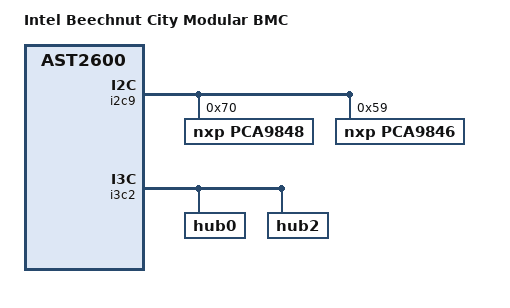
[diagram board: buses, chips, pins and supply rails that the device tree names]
// SPDX-License-Identifier: GPL-2.0
/dts-v1/;

#include "aspeed-bmc-intel-bhs.dtsi"
#include "aspeed-bmc-intel-bncm.dtsi"

/ {
	model = "Intel Beechnut City Modular BMC";
	compatible = "intel,bncm-bmc", "aspeed,ast2600";
	aliases {
		i2c16 = &i2c9_mux_ch7;
		i2c18 = &i2c9_mux0_ch0;
		i2c19 = &i2c9_mux0_ch1;
		i2c20 = &i2c9_mux0_ch2;
		i2c21 = &i2c9_mux0_ch3;
	};
};

&i2c9 {
	/*
	 * W/A: add SMBUS MUX via device tree instead of entity-manager
	 * to assign fixed numbers for buses behind MUX which can be referred
	 * later in platform configuration
	 */
	pca9848@70 {
		compatible = "nxp,pca9848";
		reg = <0x70>;
		i2c-mux-idle-disconnect;
		i2c9_mux_ch7: i2c@7 {
			reg = <7>;
		};

	};

	pca9846@59 {
		compatible = "nxp,pca9846";
		reg = <0x59>;
		i2c-mux-idle-disconnect;
		i2c9_mux0_ch0: i2c@0 {
			reg = <0>;
		};
		i2c9_mux0_ch1: i2c@1 {
			reg = <1>;
		};
		i2c9_mux0_ch2: i2c@2 {
			reg = <2>;
		};
		i2c9_mux0_ch3: i2c@3 {
			reg = <3>;
		};
	};
};

&i3c2 {
	/* I3C_MNG_LVC18 */
	i3c-scl-hz = <4550000>;
	i3c-pp-scl-high-ns = <50>;
	sda-tx-hold-ns = <50>;

	/* HUB on Legacy Board */
	hub0@0,0 {
		cp0-ldo = "disabled";
		cp1-ldo = "disabled";
		tp0145-ldo = "disabled";
		tp2367-ldo = "disabled";
		tp0145-pullup = "2k";
		tp2367-pullup = "2k";
		cp0-io-strength = "50Ohms";
		cp1-io-strength = "50Ohms";
		tp0145-io-strength = "50Ohms";
		tp2367-io-strength = "50Ohms";
		id = <0>;

		target-port@0 {
			mode = "i3c";
			pullup = "enabled";
		};
		target-port@1 {
			mode = "i3c";
			pullup = "enabled";
		};
		target-port@2 {
			mode = "i3c";
			pullup = "enabled";
		};
		target-port@3 {
			mode = "disabled";
			pullup = "enabled";
		};
		target-port@4 {
			mode = "disabled";
			pullup = "enabled";
		};
		target-port@5 {
			mode = "disabled";
			pullup = "enabled";
		};
		target-port@6 {
			mode = "disabled";
			pullup = "enabled";
		};
		target-port@7 {
			mode = "disabled";
			pullup = "enabled";
		};
	};

	/* HUB on non-Legacy Board */
	hub2@0,0 {
		cp0-ldo = "disabled";
		cp1-ldo = "disabled";
		tp0145-ldo = "disabled";
		tp2367-ldo = "disabled";
		tp0145-pullup = "2k";
		tp2367-pullup = "2k";
		cp0-io-strength = "50Ohms";
		cp1-io-strength = "50Ohms";
		tp0145-io-strength = "50Ohms";
		tp2367-io-strength = "50Ohms";
		id = <3>;

		target-port@0 {
			mode = "i3c";
			pullup = "enabled";
		};
		target-port@1 {
			mode = "disabled";
			pullup = "enabled";
		};
		target-port@2 {
			mode = "i3c";
			pullup = "enabled";
		};
		target-port@3 {
			mode = "i3c";
			pullup = "enabled";
		};
		target-port@4 {
			mode = "disabled";
			pullup = "enabled";
		};
		target-port@5 {
			mode = "disabled";
			pullup = "enabled";
		};
		target-port@6 {
			mode = "disabled";
			pullup = "enabled";
		};
		target-port@7 {
			mode = "disabled";
			pullup = "enabled";
		};
	};
};
